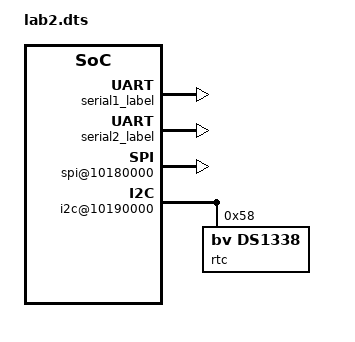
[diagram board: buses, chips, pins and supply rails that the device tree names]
/dts-v1/;


/ {
    #address-cells = <1>;
    #size-cells = <1>;
    
    compatible = "BV,Yellow's BV";
    
    cpus {
        #address-cells = <1>;
        #size-cells = <0>;
        cpu@0 {
            compatible = "arm,cortex-a9";
            reg = <0>;
        };
        cpu@1 {
            compatible = "arm,cortex-a9";
            reg = <1>;
        };
    };

    serial1_label: serial@101B1000 {
        compatible = "arm,bv011";
        reg = <0x101B1000 0x1000>;
    };

    serial2_label: serial@101B2000 {
        compatible = "arm,bv011";
        reg = <0x101B2000 0x1000>;
    };

    gpio_label: gpio@101B3000 {
        compatible = "arm,bv061";
        reg = <0x101B3000 0x1000>;
    };
    
    spi@10180000 {
        compatible = "arm,bv022";
        reg = <0x10180000 0x1000>;
    };

    i2c@10190000 {
        compatible = "bv,bv-i2c-bus";
        reg = <0x10190000 0x0>;
        #address-cells = <1>;
        #size-cells = <0>;
        rtc@58 {
            compatible = "bv,ds1338";
            reg = <0x58>;
        };
    };

    aliases {
        serial1 = &serial1_label;
        serial2 = &serial2_label;
        gpio1 = &gpio_label;
    };

    chosen {
        bootargs = "ignore_loglevel rw root=/dev/nfs ip=on";
        stdout-path = "serial0:115200n8";
    };
    
};
